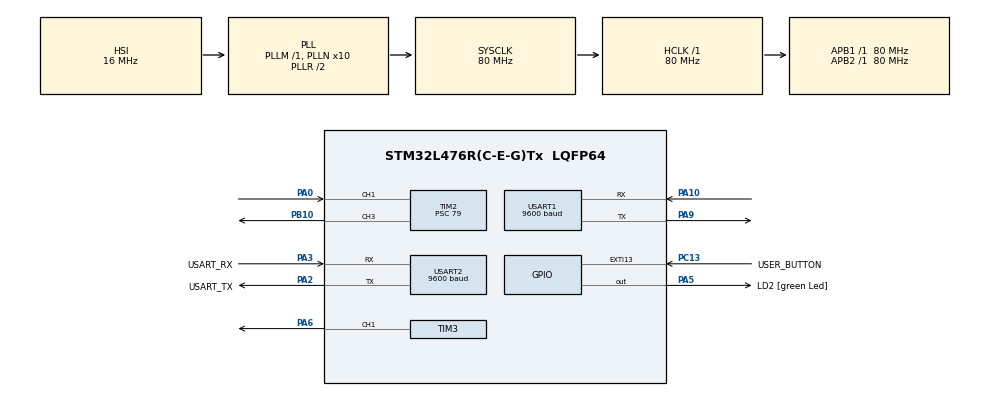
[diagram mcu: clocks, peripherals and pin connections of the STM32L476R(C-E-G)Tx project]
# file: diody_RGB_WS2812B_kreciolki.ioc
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Dma.Request0=TIM3_CH1/TRIG
Dma.TIM3_CH1/TRIG.0.Direction=DMA_MEMORY_TO_PERIPH
Dma.TIM3_CH1/TRIG.0.Instance=DMA1_Channel6
Dma.TIM3_CH1/TRIG.0.MemDataAlignment=DMA_MDATAALIGN_BYTE
Dma.TIM3_CH1/TRIG.0.MemInc=DMA_MINC_ENABLE
Dma.TIM3_CH1/TRIG.0.Mode=DMA_NORMAL
Dma.TIM3_CH1/TRIG.0.PeriphDataAlignment=DMA_PDATAALIGN_HALFWORD
Dma.TIM3_CH1/TRIG.0.PeriphInc=DMA_PINC_DISABLE
Dma.TIM3_CH1/TRIG.0.Priority=DMA_PRIORITY_LOW
Mcu.Family=STM32L4
Mcu.Name=STM32L476R(C-E-G)Tx
Mcu.Package=LQFP64
NVIC.DMA1_Channel6_IRQn=true\:0\:0\:false\:false\:true\:false\:true\:true
NVIC.EXTI15_10_IRQn=true\:3\:0\:true\:false\:true\:true\:true\:true
NVIC.PriorityGroup=NVIC_PRIORITYGROUP_4
PA0.Signal=S_TIM2_CH1
PA10.Mode=Asynchronous
PA10.Signal=USART1_RX
PA13\ (JTMS-SWDIO).GPIO_Label=TMS
PA13\ (JTMS-SWDIO).Mode=Serial_Wire
PA13\ (JTMS-SWDIO).Signal=SYS_JTMS-SWDIO
PA14\ (JTCK-SWCLK).GPIO_Label=TCK
PA14\ (JTCK-SWCLK).Mode=Serial_Wire
PA14\ (JTCK-SWCLK).Signal=SYS_JTCK-SWCLK
PA2.GPIO_Label=USART_TX
PA2.GPIO_Mode=GPIO_MODE_AF_PP
PA2.GPIO_PuPd=GPIO_NOPULL
PA2.GPIO_Speed=GPIO_SPEED_FREQ_VERY_HIGH
PA2.Mode=Asynchronous
PA2.Signal=USART2_TX
PA3.GPIO_Label=USART_RX
PA3.GPIO_Mode=GPIO_MODE_AF_PP
PA3.GPIO_PuPd=GPIO_NOPULL
PA3.GPIO_Speed=GPIO_SPEED_FREQ_VERY_HIGH
PA3.Mode=Asynchronous
PA3.Signal=USART2_RX
PA5.GPIO_Label=LD2 [green Led]
PA5.GPIO_ModeDefaultOutputPP=GPIO_MODE_OUTPUT_PP
PA5.GPIO_PuPd=GPIO_NOPULL
PA5.GPIO_Speed=GPIO_SPEED_FREQ_LOW
PA5.Signal=GPIO_Output
PA6.Signal=S_TIM3_CH1
PA9.Mode=Asynchronous
PA9.Signal=USART1_TX
PB10.Signal=S_TIM2_CH3
PB3\ (JTDO-TRACESWO).GPIO_Label=SWO
PB3\ (JTDO-TRACESWO).Signal=SYS_JTDO-SWO
PC13.GPIO_Label=USER_BUTTON
PC13.GPIO_PuPd=GPIO_PULLUP
PC13.Signal=GPXTI13
PC14-OSC32_IN\ (PC14).Mode=LSE-External-Oscillator
PC14-OSC32_IN\ (PC14).Signal=RCC_OSC32_IN
PC15-OSC32_OUT\ (PC15).Mode=LSE-External-Oscillator
PC15-OSC32_OUT\ (PC15).Signal=RCC_OSC32_OUT
PH0-OSC_IN\ (PH0).Signal=RCC_OSC_IN
PH1-OSC_OUT\ (PH1).Signal=RCC_OSC_OUT
ProjectManager.HeapSize=0x200
ProjectManager.StackSize=0x400
ProjectManager.TargetToolchain=STM32CubeIDE
RCC.ADCFreq_Value=64000000
RCC.AHBFreq_Value=80000000
RCC.APB1Freq_Value=80000000
RCC.APB1TimFreq_Value=80000000
RCC.APB2Freq_Value=80000000
RCC.APB2TimFreq_Value=80000000
RCC.CortexFreq_Value=80000000
RCC.HCLKFreq_Value=80000000
RCC.HSE_VALUE=8000000
RCC.HSI_VALUE=16000000
RCC.MSI_VALUE=4000000
RCC.PLLN=10
RCC.PLLSourceVirtual=RCC_PLLSOURCE_HSI
RCC.PREFETCH_ENABLE=1
RCC.SYSCLKFreq_VALUE=80000000
RCC.SYSCLKSource=RCC_SYSCLKSOURCE_PLLCLK
RCC.USBFreq_Value=64000000
RCC.VCOOutputFreq_Value=160000000
SH.S_TIM2_CH1.0=TIM2_CH1,Input_Capture1_from_TI1
SH.S_TIM2_CH3.0=TIM2_CH3,PWM Generation3 CH3
SH.S_TIM3_CH1.0=TIM3_CH1,PWM Generation1 CH1
TIM2.Channel-Input_Capture1_from_TI1=TIM_CHANNEL_1
TIM2.Channel-Input_Capture2_from_TI1_63=TIM_CHANNEL_2
TIM2.Channel-PWM\ Generation3\ CH3=TIM_CHANNEL_3
TIM2.ICPolarity_CH1=TIM_INPUTCHANNELPOLARITY_RISING
TIM2.ICPolarity_CH2=TIM_INPUTCHANNELPOLARITY_FALLING
TIM2.Period=99999
TIM2.Prescaler=79
TIM2.Pulse-PWM\ Generation3\ CH3=10
TIM3.Channel-PWM\ Generation1\ CH1=TIM_CHANNEL_1
TIM3.Period=99
USART1.BaudRate=9600
USART1.VirtualMode-Asynchronous=VM_ASYNC
USART2.BaudRate=9600
USART2.VirtualMode-Asynchronous=VM_ASYNC
VP_TIM2_VS_ClockSourceINT.Mode=Internal
VP_TIM2_VS_indirect_ch1.Mode=Input_Capture2_from_TI1_63
VP_TIM3_VS_ClockSourceINT.Mode=Internal
board=NUCLEO-L476RG

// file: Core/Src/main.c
/* USER CODE BEGIN Header */
/**
 ******************************************************************************
 * @file           : main.c
 * @brief          : Main program body
 ******************************************************************************
 * @attention
 *
 * Copyright (c) 2022 STMicroelectronics.
 * All rights reserved.
 *
 * This software is licensed under terms that can be found in the LICENSE file
 * in the root directory of this software component.
 * If no LICENSE file comes with this software, it is provided AS-IS.
 *
 ******************************************************************************
 */
/* USER CODE END Header */
#include "main.h"
#include "dma.h"
#include "tim.h"
#include "usart.h"
#include "gpio.h"

/* USER CODE BEGIN Includes */

#include <stdio.h>
#include <stdbool.h>

#define N_VAL 64
#define LINE_MAX_LENGTH 80

/* USER CODE END Includes */

/* USER CODE BEGIN PD */
// hej
/* USER CODE END PD */

void SystemClock_Config(void);

/* USER CODE BEGIN 0 */

int __io_putchar(int ch)
{
	if (ch == '\n')
	{
		__io_putchar('\r');
	}

	HAL_UART_Transmit(&huart2, (uint8_t *)&ch, 1, HAL_MAX_DELAY);

	return 1;
}

uint8_t stan = 0;

const uint8_t gamma8[] = {
	0, 0, 0, 0, 0, 0, 0, 0, 0, 0, 0, 0, 0, 0, 0, 0,
	0, 0, 0, 0, 0, 0, 0, 0, 0, 0, 0, 0, 1, 1, 1, 1,
	1, 1, 1, 1, 1, 1, 1, 1, 1, 2, 2, 2, 2, 2, 2, 2,
	2, 3, 3, 3, 3, 3, 3, 3, 4, 4, 4, 4, 4, 5, 5, 5,
	5, 6, 6, 6, 6, 7, 7, 7, 7, 8, 8, 8, 9, 9, 9, 10,
	10, 10, 11, 11, 11, 12, 12, 13, 13, 13, 14, 14, 15, 15, 16, 16,
	17, 17, 18, 18, 19, 19, 20, 20, 21, 21, 22, 22, 23, 24, 24, 25,
	25, 26, 27, 27, 28, 29, 29, 30, 31, 32, 32, 33, 34, 35, 35, 36,
	37, 38, 39, 39, 40, 41, 42, 43, 44, 45, 46, 47, 48, 49, 50, 50,
	51, 52, 54, 55, 56, 57, 58, 59, 60, 61, 62, 63, 64, 66, 67, 68,
	69, 70, 72, 73, 74, 75, 77, 78, 79, 81, 82, 83, 85, 86, 87, 89,
	90, 92, 93, 95, 96, 98, 99, 101, 102, 104, 105, 107, 109, 110, 112, 114,
	115, 117, 119, 120, 122, 124, 126, 127, 129, 131, 133, 135, 137, 138, 140, 142,
	144, 146, 148, 150, 152, 154, 156, 158, 160, 162, 164, 167, 169, 171, 173, 175,
	177, 180, 182, 184, 186, 189, 191, 193, 196, 198, 200, 203, 205, 208, 210, 213,
	215, 218, 220, 223, 225, 228, 231, 233, 236, 239, 241, 244, 247, 249, 252, 255};

bool is_button_pressed(void)
{
	if (HAL_GPIO_ReadPin(USER_BUTTON_GPIO_Port, USER_BUTTON_Pin) == GPIO_PIN_RESET)
	{
		return true;
	}
	else
	{
		return false;
	}
}

void HAL_GPIO_EXTI_Callback(uint16_t GPIO_Pin)
{

	stan++;
	if (stan > 6)
	{
		stan = 0;
	}
}

void efektDiody_1(void)
{
	while (1)
	{
		uint8_t r = gamma8[rand() % 256];
		uint8_t g = gamma8[rand() % 256];
		uint8_t b = gamma8[rand() % 256];

		for (int led = 0; led < 7; led++)
		{
			ws2812b_set_color(led, r, g, b);
			ws2812b_update();
			HAL_Delay(50);
		}
		HAL_Delay(200);
		for (int led = 0; led < 7; led++)
		{
			ws2812b_set_color(led, 0, 0, 0);
			ws2812b_update();
			HAL_Delay(50);
		}
		if (stan != 1)
		{
			break;
		}
	}
}

void efektDiody_3(void)
{
	while (1)
	{

		for (int led = 0; led < 7; led++)
		{
			uint8_t r = gamma8[rand() % 256];
			uint8_t g = gamma8[rand() % 256];
			uint8_t b = gamma8[rand() % 256];

			ws2812b_set_color(led, r, g, b);
			ws2812b_update();
			HAL_Delay(50);
		}
		HAL_Delay(200);
		for (int led = 0; led < 7; led++)
		{
			ws2812b_set_color(led, 0, 0, 0);
			ws2812b_update();
			HAL_Delay(50);
		}
		if (stan != 3)
		{
			break;
		}
	}
}

void efektDiody_5(void)
{
	while (1)
	{
		for (int led = 6; led >= 0; led -= 2)
		{
			uint8_t r = gamma8[rand() % 256];
			uint8_t g = gamma8[rand() % 256];
			uint8_t b = gamma8[rand() % 256];

			ws2812b_set_color(led, r, g, b);
			ws2812b_update();
			HAL_Delay(50);
		}
		for (int led = 1; led <= 5; led += 2)
		{
			uint8_t r = gamma8[rand() % 256];
			uint8_t g = gamma8[rand() % 256];
			uint8_t b = gamma8[rand() % 256];

			ws2812b_set_color(led, r, g, b);
			ws2812b_update();
			HAL_Delay(50);
		}
		HAL_Delay(200);
		for (int led = 0; led < 7; led++)
		{
			ws2812b_set_color(led, 0, 0, 0);
			ws2812b_update();
			HAL_Delay(50);
		}
		if (stan != 5)
		{
			break;
		}
	}
}
static char czerwona[] = "czerwona";
static char niebieska[] = "niebieska";
static char zielona[] = "zielona";
static char biala[] = "biala";
static char wylacz[] = "wylacz";
static char line_buffer[LINE_MAX_LENGTH + 1];
uint32_t line_length;
int line_append_done = 0;

void line_append(uint8_t value)
{
	if (value == '\r' || value == '\n')
	{
		// odebraliśmy znak końca linii
		if (line_length > 0)
		{
			line_buffer[line_length] = '\0';
			// przetwarzamy dane
			printf("%s\n", line_buffer); // wysyła na oba uarty
			if (!strcmp(&line_buffer, &czerwona))
			{
				stan = 0;
			}
			if (!strcmp(&line_buffer, &niebieska))
			{
				stan = 4;
			}
			if (!strcmp(&line_buffer, &zielona))
			{
				stan = 2;
			}
			if (!strcmp(&line_buffer, &biala))
			{
				stan = 7;
			}
			if (!strcmp(&line_buffer, &wylacz))
			{
				stan = 6;
			}

			line_append_done = 1;
			line_length = 0;
		}
	}
	else
	{
		line_append_done = 0;
		if (line_length >= LINE_MAX_LENGTH)
		{
			line_length = 0;
		}
		line_buffer[line_length++] = value;
	}
}

/* USER CODE END 0 */

int main(void)
{

	/* MCU Configuration--------------------------------------------------------*/

	/* Reset of all peripherals, Initializes the Flash interface and the Systick. */
	HAL_Init();

	/* Configure the system clock */
	SystemClock_Config();

	/* Initialize all configured peripherals */
	MX_GPIO_Init();
	MX_DMA_Init();
	MX_USART2_UART_Init();
	MX_TIM3_Init();
	MX_TIM2_Init();
	MX_USART1_UART_Init();
	/* USER CODE BEGIN 2 */
	//  HAL_TIM_Base_Start(&htim3);
	//
	//  uint8_t test[] = { 100, 0, 32, 32, 32, 32, 32, 100 }; // 0/100 10/100 20/100 ... wypełnienie PWM
	//  HAL_TIM_PWM_Start_DMA(&htim3, TIM_CHANNEL_1, &test, sizeof(test));
	//
	//  HAL_StatusTypeDef HAL_TIM_PWM_Start_DMA(TIM_HandleTypeDef *htim, uint32_t Channel, uint32_t *pData, uint16_t Length);

	//  HAL_TIM_Base_Start(&htim3);
	//
	//  uint8_t test[40 + 7 * 24 + 1] = {0};
	//
	//  // Zerowanie kolorów wszystkich diod
	//  for (int i = 0; i < 7 * 24; i++)
	//    test[40 + i] = 32;
	//
	//  // Włącz jedną diodę
	//  test[40] = 64;
	//
	//  // Stan wysoki na końcu
	//  test[40 + 7 * 24] = 100;
	//
	//  HAL_TIM_PWM_Start_DMA(&htim3, TIM_CHANNEL_1, &test, sizeof(test));

	/* USER CODE END 2 */

	/* Infinite loop */
	/* USER CODE BEGIN WHILE */
	ws2812b_init();

	HAL_TIM_IC_Start(&htim2, TIM_CHANNEL_1); // inicjalizacja liczników
	HAL_TIM_IC_Start(&htim2, TIM_CHANNEL_2);
	HAL_TIM_PWM_Start(&htim2, TIM_CHANNEL_3); // inicjalizacja pwm
	HAL_Delay(1000);

	float odleglosc_stara = 0.0f;
	float odleglosc;
	uint8_t value;
	while (1)
	{
		if (HAL_UART_Receive(&huart1, (uint8_t *)&value, sizeof(value), 0) == HAL_OK)
		{

			line_append(value);
		}

		//	  uint8_t r = gamma8[rand() % 256];
		//	  uint8_t g = gamma8[rand() % 256];
		//	  uint8_t b = gamma8[rand() % 256];
		//
		//	  for (int led = 0; led < 7; led++) {
		//	    ws2812b_set_color(led, r, g, b);
		//	    ws2812b_update();
		//	    HAL_Delay(100);
		//	  }

		switch (stan)
		{
		case 0:
			for (int led = 0; led < 7; led++)
			{
				ws2812b_set_color(led, 255, 0, 0);
				ws2812b_update();
			}
			break;
		case 1:
			efektDiody_1();
			break;
		case 2:
			for (int led = 0; led < 7; led++)
			{
				ws2812b_set_color(led, 0, 255, 0);
				ws2812b_update();
			}
			break;
		case 3:
			efektDiody_3();
			break;
		case 4:
			for (int led = 0; led < 7; led++)
			{
				ws2812b_set_color(led, 0, 0, 255);
				ws2812b_update();
			}
			break;
		case 5:
			efektDiody_5();
			break;
		case 6:
			ws2812b_init();
			break;
		case 7:
			for (int led = 0; led < 7; led++)
			{
				ws2812b_set_color(led, 255, 255, 255);
				ws2812b_update();
			}
			break;
		default:
			break;
		}
		/* USER CODE END WHILE */

	}
}

void SystemClock_Config(void)
{
	RCC_OscInitTypeDef RCC_OscInitStruct = {0};
	RCC_ClkInitTypeDef RCC_ClkInitStruct = {0};

	/** Configure the main internal regulator output voltage
	 */
	if (HAL_PWREx_ControlVoltageScaling(PWR_REGULATOR_VOLTAGE_SCALE1) != HAL_OK)
	{
		Error_Handler();
	}

	/** Initializes the RCC Oscillators according to the specified parameters
	 * in the RCC_OscInitTypeDef structure.
	 */
	RCC_OscInitStruct.OscillatorType = RCC_OSCILLATORTYPE_HSI;
	RCC_OscInitStruct.HSIState = RCC_HSI_ON;
	RCC_OscInitStruct.HSICalibrationValue = RCC_HSICALIBRATION_DEFAULT;
	RCC_OscInitStruct.PLL.PLLState = RCC_PLL_ON;
	RCC_OscInitStruct.PLL.PLLSource = RCC_PLLSOURCE_HSI;
	RCC_OscInitStruct.PLL.PLLM = 1;
	RCC_OscInitStruct.PLL.PLLN = 10;
	RCC_OscInitStruct.PLL.PLLP = RCC_PLLP_DIV7;
	RCC_OscInitStruct.PLL.PLLQ = RCC_PLLQ_DIV2;
	RCC_OscInitStruct.PLL.PLLR = RCC_PLLR_DIV2;
	if (HAL_RCC_OscConfig(&RCC_OscInitStruct) != HAL_OK)
	{
		Error_Handler();
	}

	/** Initializes the CPU, AHB and APB buses clocks
	 */
	RCC_ClkInitStruct.ClockType = RCC_CLOCKTYPE_HCLK | RCC_CLOCKTYPE_SYSCLK | RCC_CLOCKTYPE_PCLK1 | RCC_CLOCKTYPE_PCLK2;
	RCC_ClkInitStruct.SYSCLKSource = RCC_SYSCLKSOURCE_PLLCLK;
	RCC_ClkInitStruct.AHBCLKDivider = RCC_SYSCLK_DIV1;
	RCC_ClkInitStruct.APB1CLKDivider = RCC_HCLK_DIV1;
	RCC_ClkInitStruct.APB2CLKDivider = RCC_HCLK_DIV1;

	if (HAL_RCC_ClockConfig(&RCC_ClkInitStruct, FLASH_LATENCY_4) != HAL_OK)
	{
		Error_Handler();
	}
}

void Error_Handler(void)
{
	__disable_irq();
	while (1)
	{
	}
}
